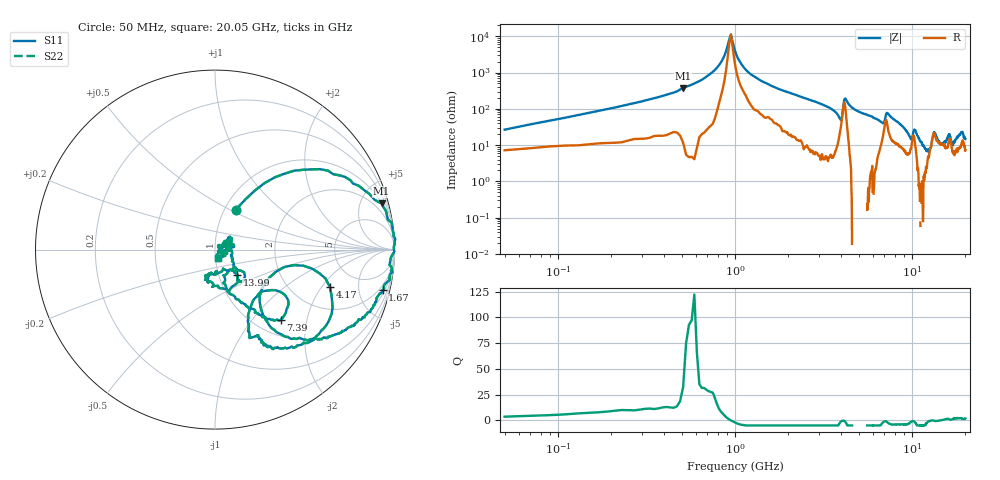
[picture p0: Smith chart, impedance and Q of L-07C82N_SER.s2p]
! P/N: L-07C82NJVT
! Measured by Marlon
! Oct. 13, 2003
! Measure with Series-through-Fixture
#	mhz	s	ma	r	50
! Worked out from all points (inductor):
!   1001 points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, 50 MHz to 20.05 GHz, reference 50 ohm
!   read as one part in series: L = 77.9 nH near 150 MHz
!   highest Q = 28.3 at 510 MHz (marker M1), where L = 118 nH
!   self-resonance near 930 MHz
!   S11 on the Smith chart (normalised r, x): 50 MHz: 1.13, +0.53; 1.67 GHz: 1.37, -8.12; 4.17 GHz: 3.17, -2.40; 7.39 GHz: 1.28, -1.41; 13.99 GHz: 1.22, -0.36; 20.05 GHz: 1.03, -0.09
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50  0.2495 62.6  0.9027 -12.8  0.9027 -12.8  0.2495 62.6
510  0.9631 15.6  0.254 -72.6  0.254 -72.6  0.9631 15.6
950  1.002 2.6  0.00893 11.5  0.00893 11.5  1.002 2.6
1230  0.9759 -5.0  0.1095 76.7  0.1095 76.7  0.9759 -5.0
1670  0.9609 -13.7  0.2415 70.4  0.2415 70.4  0.9609 -13.7
3390  0.7191 -44.5  0.6367 44.0  0.6367 44.0  0.7191 -44.5
3910  0.4078 -51.6  0.7294 21.8  0.7294 21.8  0.4078 -51.6
4170  0.6723 -17.9  0.3562 24.9  0.3562 24.9  0.6723 -17.9
4730  0.6833 -53.3  0.6595 41.1  0.6595 41.1  0.6833 -53.3
6730  0.3967 -61.5  0.8149 16.4  0.8149 16.4  0.3967 -61.5
7390  0.5363 -47.1  0.7131 24.7  0.7131 24.7  0.5363 -47.1
10050  0.1383 -54.3  0.8367 2.8  0.8367 2.8  0.1383 -54.3
12770  0.1149 -67.2  0.8935 -4.4  0.8935 -4.4  0.1149 -67.2
13390  0.2274 -44.0  0.8177 -1.7  0.8177 -1.7  0.2274 -44.0
13990  0.1873 -49.2  0.8956 -2.0  0.8956 -2.0  0.1873 -49.2
15510  0.06309 1.0  0.9079 -9.2  0.9079 -9.2  0.06309 1.0
16390  0.08946 9.4  0.8347 -10.3  0.8347 -10.3  0.08946 9.4
16730  0.03933 -9.3  0.8707 -8.1  0.8707 -8.1  0.03933 -9.3
17010  0.0243 -17.7  0.8979 -9.1  0.8979 -9.1  0.0243 -17.7
17950  0.07294 27.0  0.9129 -13.2  0.9129 -13.2  0.07294 27.0
19290  0.07829 17.2  0.8414 -17.0  0.8414 -17.0  0.07829 17.2
20050  0.04804 -68.2  0.8887 -17.4  0.8887 -17.4  0.04804 -68.2
